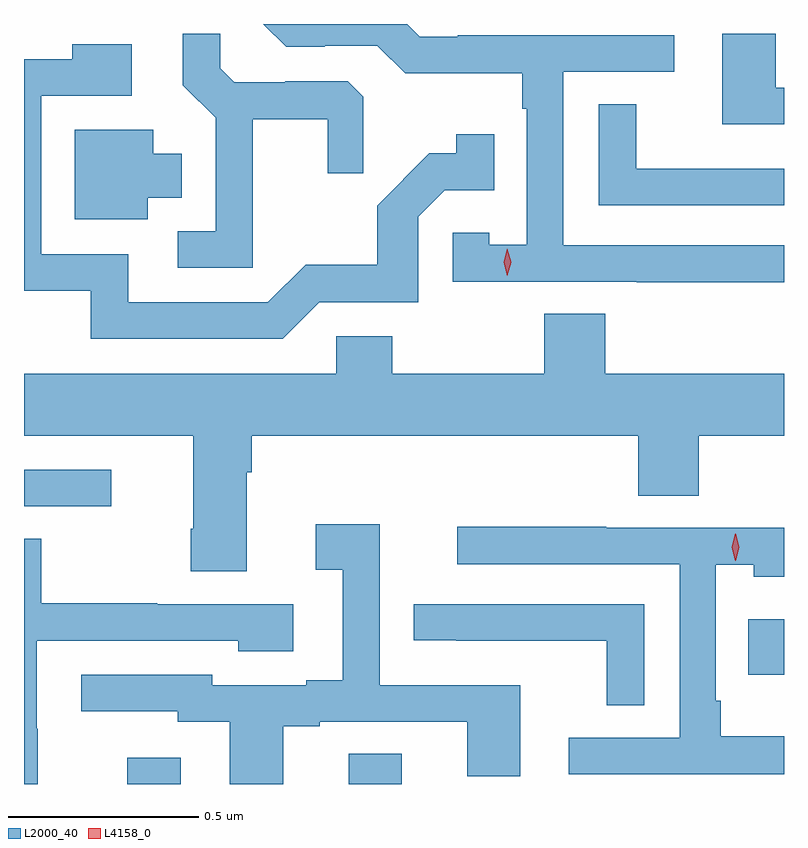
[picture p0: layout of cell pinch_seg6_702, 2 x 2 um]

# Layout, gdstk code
import gdstk
lib = gdstk.Library(unit=1e-6, precision=1e-09)
def R(c, l, rs):  # rectangles x0, y0, x1, y1
    for r in rs: c.add(gdstk.rectangle(r[:2], r[2:], *l))
def P(c, l, *ps):  # polygons
    for p in ps: c.add(gdstk.Polygon(p, *l))
L2000_40 = (2000, 40)
L4158_0 = (4158, 0)

pinch_seg6_702 = lib.new_cell('pinch_seg6_702')
R(pinch_seg6_702, L2000_40, [(489.797,930.436,489.937,930.505), (490.379,930.436,490.519,930.515), (491.431,930.723,491.525,930.87), (489.525,931.167,489.754,931.263)])
P(pinch_seg6_702, L2000_40, [(491.525,931.854),(490.944,931.854),(490.944,932.31),(491.236,932.31),(491.236,932.406),(490.666,932.406),(490.666,932.403),(490.566,932.403),(490.533,932.436),(490.155,932.436),(490.215,932.376),(490.316,932.376),(490.316,932.379),(490.455,932.379),(490.528,932.306),(490.836,932.306),(490.836,932.213),(490.848,932.213),(490.848,931.855),(490.749,931.855),(490.749,931.887),(490.653,931.887),(490.653,931.758),(491.137,931.758),(491.137,931.756),(491.525,931.756)],
  [(491.525,932.268),(491.503,932.268),(491.503,932.411),(491.363,932.411),(491.363,932.172),(491.525,932.172)],
  [(490.127,932.186),(490.324,932.186),(490.324,932.043),(490.418,932.043),(490.418,932.245),(490.377,932.286),(490.212,932.286),(490.212,932.283),(490.078,932.283),(490.041,932.32),(490.041,932.411),(489.943,932.411),(489.943,932.275),(490.029,932.189),(490.029,931.89),(489.93,931.89),(489.93,931.794),(490.127,931.794)],
  [(490.302,931.704),(490.563,931.704),(490.563,931.929),(490.632,931.998),(490.763,931.998),(490.763,932.146),(490.662,932.146),(490.662,932.096),(490.592,932.096),(490.455,931.958),(490.455,931.803),(490.266,931.803),(490.167,931.704),(489.799,931.704),(489.799,931.83),(489.57,931.83),(489.57,932.247),(489.808,932.247),(489.808,932.383),(489.652,932.383),(489.652,932.343),(489.525,932.343),(489.525,931.734),(489.701,931.734),(489.701,931.608),(490.206,931.608)],
  [(491.525,932.055),(491.136,932.055),(491.136,932.225),(491.037,932.225),(491.037,931.959),(491.525,931.959)],
  [(489.85,931.979),(489.94,931.979),(489.94,932.095),(489.865,932.095),(489.865,932.158),(489.659,932.158),(489.659,931.922),(489.85,931.922)],
  [(490.111,931.256),(490.124,931.256),(490.124,931.352),(491.141,931.352),(491.141,931.195),(491.301,931.195),(491.301,931.352),(491.525,931.352),(491.525,931.516),(491.054,931.516),(491.054,931.673),(490.894,931.673),(490.894,931.516),(490.494,931.516),(490.494,931.614),(490.347,931.614),(490.347,931.516),(489.525,931.516),(489.525,931.352),(489.971,931.352),(489.971,931.108),(489.964,931.108),(489.964,930.996),(490.111,930.996)],
  [(490.207,930.588),(490.303,930.588),(490.303,930.6),(490.691,930.6),(490.691,930.457),(490.831,930.457),(490.831,930.696),(490.461,930.696),(490.461,931.12),(490.293,931.12),(490.293,931),(490.364,931),(490.364,930.709),(490.268,930.709),(490.268,930.696),(490.02,930.696),(490.02,930.723),(489.675,930.723),(489.675,930.627),(489.93,930.627),(489.93,930.6),(490.067,930.6),(490.067,930.436),(490.207,930.436)],
  [(491.525,930.562),(491.359,930.562),(491.359,930.655),(491.346,930.655),(491.346,931.013),(491.445,931.013),(491.445,930.981),(491.525,930.981),(491.525,931.11),(491.057,931.11),(491.057,931.113),(490.665,931.113),(490.665,931.014),(491.25,931.014),(491.25,930.558),(490.959,930.558),(490.959,930.462),(491.525,930.462)],
  [(489.561,930.581),(489.558,930.581),(489.558,930.813),(490.089,930.813),(490.089,930.785),(490.234,930.785),(490.234,930.909),(489.875,930.909),(489.875,930.912),(489.571,930.912),(489.571,931.082),(489.525,931.082),(489.525,930.436),(489.561,930.436)],
  [(491.157,930.909),(490.551,930.909),(490.551,930.814),(490.663,930.814),(490.663,930.813),(491.059,930.813),(491.059,930.643),(491.157,930.643)])
P(pinch_seg6_702, L4158_0, [(491.397,931.023),(491.397,931.023),(491.387,931.059),(491.397,931.094),(491.397,931.095),(491.398,931.094),(491.407,931.059),(491.398,931.023)],
  [(490.797,931.773),(490.797,931.774),(490.787,931.809),(490.797,931.845),(490.797,931.845),(490.797,931.845),(490.807,931.809),(490.797,931.774)])

lib.write_gds('pinch_seg6_702.gds')
